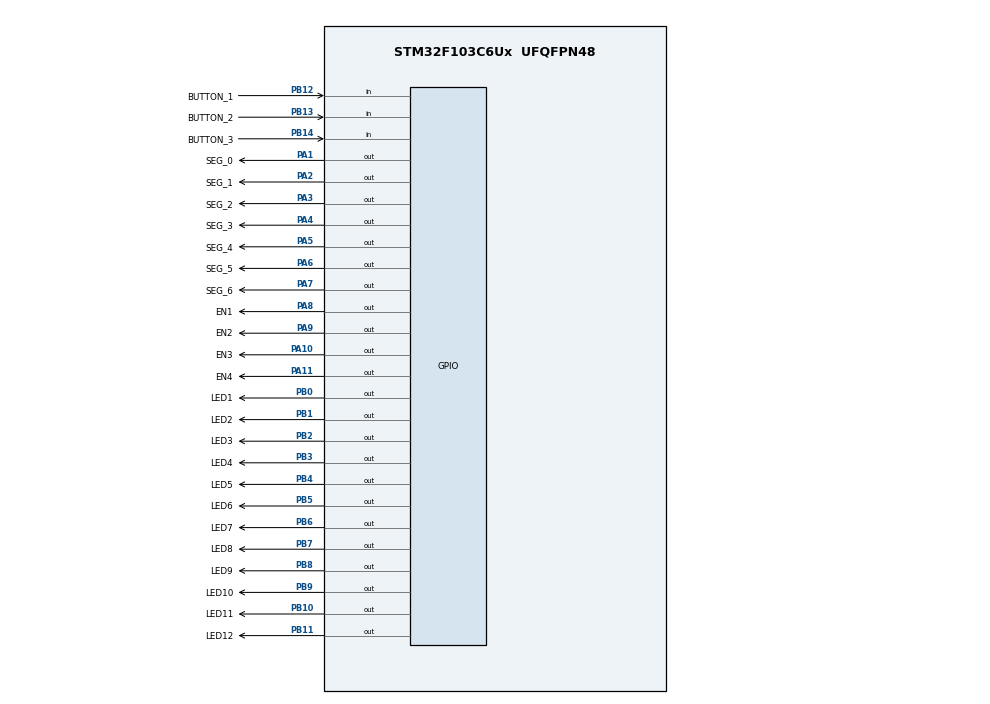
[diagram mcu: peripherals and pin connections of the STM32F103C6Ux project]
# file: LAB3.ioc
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Mcu.Family=STM32F1
Mcu.Name=STM32F103C6Ux
Mcu.Package=UFQFPN48
NVIC.PriorityGroup=NVIC_PRIORITYGROUP_4
NVIC.TIM2_IRQn=true\:0\:0\:false\:false\:true\:true\:true
PA1.GPIO_Label=SEG_0
PA1.Signal=GPIO_Output
PA10.GPIO_Label=EN3
PA10.Signal=GPIO_Output
PA11.GPIO_Label=EN4
PA11.Signal=GPIO_Output
PA2.GPIO_Label=SEG_1
PA2.Signal=GPIO_Output
PA3.GPIO_Label=SEG_2
PA3.Signal=GPIO_Output
PA4.GPIO_Label=SEG_3
PA4.Signal=GPIO_Output
PA5.GPIO_Label=SEG_4
PA5.Signal=GPIO_Output
PA6.GPIO_Label=SEG_5
PA6.Signal=GPIO_Output
PA7.GPIO_Label=SEG_6
PA7.Signal=GPIO_Output
PA8.GPIO_Label=EN1
PA8.Signal=GPIO_Output
PA9.GPIO_Label=EN2
PA9.Signal=GPIO_Output
PB0.GPIO_Label=LED1
PB0.Signal=GPIO_Output
PB1.GPIO_Label=LED2
PB1.Signal=GPIO_Output
PB10.GPIO_Label=LED11
PB10.Signal=GPIO_Output
PB11.GPIO_Label=LED12
PB11.Signal=GPIO_Output
PB12.GPIO_Label=BUTTON_1
PB12.GPIO_PuPd=GPIO_PULLUP
PB12.Signal=GPIO_Input
PB13.GPIO_Label=BUTTON_2
PB13.GPIO_PuPd=GPIO_PULLUP
PB13.Signal=GPIO_Input
PB14.GPIO_Label=BUTTON_3
PB14.GPIO_PuPd=GPIO_PULLUP
PB14.Signal=GPIO_Input
PB2.GPIO_Label=LED3
PB2.Signal=GPIO_Output
PB3.GPIO_Label=LED4
PB3.Signal=GPIO_Output
PB4.GPIO_Label=LED5
PB4.Signal=GPIO_Output
PB5.GPIO_Label=LED6
PB5.Signal=GPIO_Output
PB6.GPIO_Label=LED7
PB6.Signal=GPIO_Output
PB7.GPIO_Label=LED8
PB7.Signal=GPIO_Output
PB8.GPIO_Label=LED9
PB8.Signal=GPIO_Output
PB9.GPIO_Label=LED10
PB9.Signal=GPIO_Output
ProjectManager.HeapSize=0x200
ProjectManager.StackSize=0x400
ProjectManager.TargetToolchain=STM32CubeIDE
RCC.APB1Freq_Value=8000000
RCC.APB2Freq_Value=8000000
TIM2.Period=9
TIM2.Prescaler=7999
VP_SYS_VS_ND.Mode=No_Debug
VP_TIM2_VS_ClockSourceINT.Mode=Internal
board=custom

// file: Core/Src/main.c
/* USER CODE BEGIN Header */
/**
  ******************************************************************************
  * @file           : main.c
  * @brief          : Main program body
  ******************************************************************************
  * @attention
  *
  * <h2><center>&copy; Copyright (c) 2024 STMicroelectronics.
  * All rights reserved.</center></h2>
  *
  * This software component is licensed by ST under BSD 3-Clause license,
  * the "License"; You may not use this file except in compliance with the
  * License. You may obtain a copy of the License at:
  *                        opensource.org/licenses/BSD-3-Clause
  *
  ******************************************************************************
  */
/* USER CODE END Header */
#include "main.h"

/* USER CODE BEGIN Includes */
#include "timer.h"
#include "fsm_automatic.h"
#include "fsm_setting.h"
#include "fsm_manual.h"
#include "button.h"
#include "scheduler.h"
//#include "traffic_light.h"
//#include "led7_segment.h"

/* USER CODE END Includes */

TIM_HandleTypeDef htim2;

void SystemClock_Config(void);
static void MX_GPIO_Init(void);
static void MX_TIM2_Init(void);

/* USER CODE BEGIN 0 */
void test1(){
	  HAL_GPIO_TogglePin(LED1_GPIO_Port,LED1_Pin);
 }
void test2(){
	  HAL_GPIO_TogglePin(LED2_GPIO_Port,LED2_Pin);
 }
void test3(){
	  HAL_GPIO_TogglePin(LED3_GPIO_Port,LED3_Pin);
 }
void test4(){
	  HAL_GPIO_TogglePin(LED4_GPIO_Port,LED4_Pin);
 }
void test5(){
	  HAL_GPIO_TogglePin(LED5_GPIO_Port,LED5_Pin);
 }
/* USER CODE END 0 */

int main(void)
{

  /* MCU Configuration--------------------------------------------------------*/

  /* Reset of all peripherals, Initializes the Flash interface and the Systick. */
  HAL_Init();

  /* Configure the system clock */
  SystemClock_Config();

  /* Initialize all configured peripherals */
  MX_GPIO_Init();
  MX_TIM2_Init();
  /* USER CODE BEGIN 2 */
  HAL_TIM_Base_Start_IT (& htim2 );
  /* USER CODE END 2 */

  /* Infinite loop */
  /* USER CODE BEGIN WHILE */

  status =INIT;

  SCH_Add_Task(test1,0,50);
  SCH_Add_Task(test2,0,100);
  SCH_Add_Task(test3,0,150);
  SCH_Add_Task(test4,0,200);
  SCH_Add_Task(test5,100,0);
  while (1)
  {
	  //fsm_automatic_run();
	  //fsm_manual_run();
	  //fsm_setting_run();
	  SCH_Dispatch_Tasks();
    /* USER CODE END WHILE */

  }
}

void SystemClock_Config(void)
{
  RCC_OscInitTypeDef RCC_OscInitStruct = {0};
  RCC_ClkInitTypeDef RCC_ClkInitStruct = {0};

  /** Initializes the RCC Oscillators according to the specified parameters
  * in the RCC_OscInitTypeDef structure.
  */
  RCC_OscInitStruct.OscillatorType = RCC_OSCILLATORTYPE_HSI;
  RCC_OscInitStruct.HSIState = RCC_HSI_ON;
  RCC_OscInitStruct.HSICalibrationValue = RCC_HSICALIBRATION_DEFAULT;
  RCC_OscInitStruct.PLL.PLLState = RCC_PLL_NONE;
  if (HAL_RCC_OscConfig(&RCC_OscInitStruct) != HAL_OK)
  {
    Error_Handler();
  }
  /** Initializes the CPU, AHB and APB buses clocks
  */
  RCC_ClkInitStruct.ClockType = RCC_CLOCKTYPE_HCLK|RCC_CLOCKTYPE_SYSCLK
                              |RCC_CLOCKTYPE_PCLK1|RCC_CLOCKTYPE_PCLK2;
  RCC_ClkInitStruct.SYSCLKSource = RCC_SYSCLKSOURCE_HSI;
  RCC_ClkInitStruct.AHBCLKDivider = RCC_SYSCLK_DIV1;
  RCC_ClkInitStruct.APB1CLKDivider = RCC_HCLK_DIV1;
  RCC_ClkInitStruct.APB2CLKDivider = RCC_HCLK_DIV1;

  if (HAL_RCC_ClockConfig(&RCC_ClkInitStruct, FLASH_LATENCY_0) != HAL_OK)
  {
    Error_Handler();
  }
}

static void MX_TIM2_Init(void)
{

  TIM_ClockConfigTypeDef sClockSourceConfig = {0};
  TIM_MasterConfigTypeDef sMasterConfig = {0};

  htim2.Instance = TIM2;
  htim2.Init.Prescaler = 7999;
  htim2.Init.CounterMode = TIM_COUNTERMODE_UP;
  htim2.Init.Period = 9;
  htim2.Init.ClockDivision = TIM_CLOCKDIVISION_DIV1;
  htim2.Init.AutoReloadPreload = TIM_AUTORELOAD_PRELOAD_DISABLE;
  if (HAL_TIM_Base_Init(&htim2) != HAL_OK)
  {
    Error_Handler();
  }
  sClockSourceConfig.ClockSource = TIM_CLOCKSOURCE_INTERNAL;
  if (HAL_TIM_ConfigClockSource(&htim2, &sClockSourceConfig) != HAL_OK)
  {
    Error_Handler();
  }
  sMasterConfig.MasterOutputTrigger = TIM_TRGO_RESET;
  sMasterConfig.MasterSlaveMode = TIM_MASTERSLAVEMODE_DISABLE;
  if (HAL_TIMEx_MasterConfigSynchronization(&htim2, &sMasterConfig) != HAL_OK)
  {
    Error_Handler();
  }

}

static void MX_GPIO_Init(void)
{
  GPIO_InitTypeDef GPIO_InitStruct = {0};

  /* GPIO Ports Clock Enable */
  __HAL_RCC_GPIOA_CLK_ENABLE();
  __HAL_RCC_GPIOB_CLK_ENABLE();

  /*Configure GPIO pin Output Level */
  HAL_GPIO_WritePin(GPIOA, SEG_0_Pin|SEG_1_Pin|SEG_2_Pin|SEG_3_Pin
                          |SEG_4_Pin|SEG_5_Pin|SEG_6_Pin|EN1_Pin
                          |EN2_Pin|EN3_Pin|EN4_Pin, GPIO_PIN_RESET);

  /*Configure GPIO pin Output Level */
  HAL_GPIO_WritePin(GPIOB, LED1_Pin|LED2_Pin|LED3_Pin|LED11_Pin
                          |LED12_Pin|LED4_Pin|LED5_Pin|LED6_Pin
                          |LED7_Pin|LED8_Pin|LED9_Pin|LED10_Pin, GPIO_PIN_RESET);

  /*Configure GPIO pins : SEG_0_Pin SEG_1_Pin SEG_2_Pin SEG_3_Pin
                           SEG_4_Pin SEG_5_Pin SEG_6_Pin EN1_Pin
                           EN2_Pin EN3_Pin EN4_Pin */
  GPIO_InitStruct.Pin = SEG_0_Pin|SEG_1_Pin|SEG_2_Pin|SEG_3_Pin
                          |SEG_4_Pin|SEG_5_Pin|SEG_6_Pin|EN1_Pin
                          |EN2_Pin|EN3_Pin|EN4_Pin;
  GPIO_InitStruct.Mode = GPIO_MODE_OUTPUT_PP;
  GPIO_InitStruct.Pull = GPIO_NOPULL;
  GPIO_InitStruct.Speed = GPIO_SPEED_FREQ_LOW;
  HAL_GPIO_Init(GPIOA, &GPIO_InitStruct);

  /*Configure GPIO pins : LED1_Pin LED2_Pin LED3_Pin LED11_Pin
                           LED12_Pin LED4_Pin LED5_Pin LED6_Pin
                           LED7_Pin LED8_Pin LED9_Pin LED10_Pin */
  GPIO_InitStruct.Pin = LED1_Pin|LED2_Pin|LED3_Pin|LED11_Pin
                          |LED12_Pin|LED4_Pin|LED5_Pin|LED6_Pin
                          |LED7_Pin|LED8_Pin|LED9_Pin|LED10_Pin;
  GPIO_InitStruct.Mode = GPIO_MODE_OUTPUT_PP;
  GPIO_InitStruct.Pull = GPIO_NOPULL;
  GPIO_InitStruct.Speed = GPIO_SPEED_FREQ_LOW;
  HAL_GPIO_Init(GPIOB, &GPIO_InitStruct);

  /*Configure GPIO pins : BUTTON_1_Pin BUTTON_2_Pin BUTTON_3_Pin */
  GPIO_InitStruct.Pin = BUTTON_1_Pin|BUTTON_2_Pin|BUTTON_3_Pin;
  GPIO_InitStruct.Mode = GPIO_MODE_INPUT;
  GPIO_InitStruct.Pull = GPIO_PULLUP;
  HAL_GPIO_Init(GPIOB, &GPIO_InitStruct);

}

/* USER CODE BEGIN 4 */
void HAL_TIM_PeriodElapsedCallback ( TIM_HandleTypeDef * htim )
{
	//timerRun();
	//getKeyInput();
	SCH_Update();
}
/* USER CODE END 4 */

void Error_Handler(void)
{
  __disable_irq();
  while (1)
  {
  }
}

/************************ (C) COPYRIGHT STMicroelectronics *****END OF FILE****/
